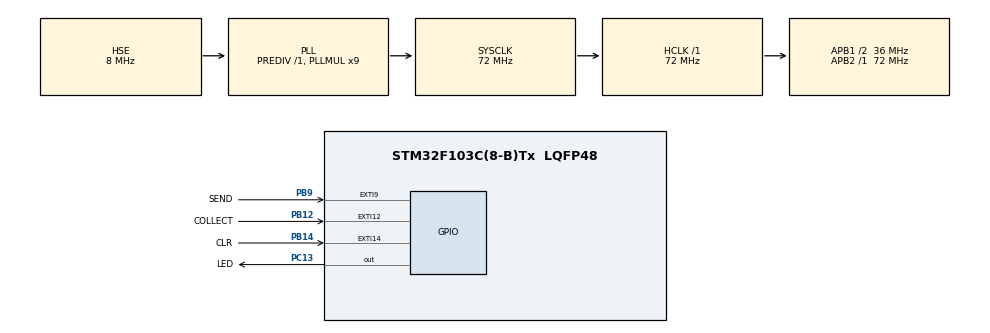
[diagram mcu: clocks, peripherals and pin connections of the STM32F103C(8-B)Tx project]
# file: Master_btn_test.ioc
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Mcu.Family=STM32F1
Mcu.Name=STM32F103C(8-B)Tx
Mcu.Package=LQFP48
NVIC.EXTI15_10_IRQn=true\:0\:0\:false\:false\:true\:true\:true\:true
NVIC.EXTI9_5_IRQn=true\:0\:0\:false\:false\:true\:true\:true\:true
NVIC.PriorityGroup=NVIC_PRIORITYGROUP_4
PA13.Mode=Serial_Wire
PA13.Signal=SYS_JTMS-SWDIO
PA14.Mode=Serial_Wire
PA14.Signal=SYS_JTCK-SWCLK
PB12.GPIO_Label=COLLECT
PB12.GPIO_ModeDefaultEXTI=GPIO_MODE_IT_FALLING
PB12.Signal=GPXTI12
PB14.GPIO_Label=CLR
PB14.GPIO_ModeDefaultEXTI=GPIO_MODE_IT_FALLING
PB14.Signal=GPXTI14
PB9.GPIO_Label=SEND
PB9.GPIO_ModeDefaultEXTI=GPIO_MODE_IT_FALLING
PB9.Signal=GPXTI9
PC13-TAMPER-RTC.GPIO_Label=LED
PC13-TAMPER-RTC.Signal=GPIO_Output
PD0-OSC_IN.Mode=HSE-External-Oscillator
PD0-OSC_IN.Signal=RCC_OSC_IN
PD1-OSC_OUT.Mode=HSE-External-Oscillator
PD1-OSC_OUT.Signal=RCC_OSC_OUT
ProjectManager.HeapSize=0x200
ProjectManager.StackSize=0x400
ProjectManager.TargetToolchain=STM32CubeIDE
RCC.AHBFreq_Value=72000000
RCC.APB1CLKDivider=RCC_HCLK_DIV2
RCC.APB1Freq_Value=36000000
RCC.APB1TimFreq_Value=72000000
RCC.APB2Freq_Value=72000000
RCC.APB2TimFreq_Value=72000000
RCC.HCLKFreq_Value=72000000
RCC.PLLMUL=RCC_PLL_MUL9
RCC.PLLSourceVirtual=RCC_PLLSOURCE_HSE
RCC.SYSCLKFreq_VALUE=72000000
RCC.SYSCLKSource=RCC_SYSCLKSOURCE_PLLCLK
RCC.USBFreq_Value=72000000
board=custom

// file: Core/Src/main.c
/* USER CODE BEGIN Header */
/**
  ******************************************************************************
  * @file           : main.c
  * @brief          : Main program body
  ******************************************************************************
  * @attention
  *
  * Copyright (c) 2026 STMicroelectronics.
  * All rights reserved.
  *
  * This software is licensed under terms that can be found in the LICENSE file
  * in the root directory of this software component.
  * If no LICENSE file comes with this software, it is provided AS-IS.
  *
  ******************************************************************************
  */
/* USER CODE END Header */
#include "main.h"

/* USER CODE BEGIN PV */
volatile uint8_t clr_flag		= 0;
volatile uint8_t collect_flag	= 0;
volatile uint8_t send_flag		= 0;

// for the debouncing delay
uint32_t last_clr_time 		= 0;
uint32_t last_collect_time 	= 0;
uint32_t last_send_time 	= 0;

//debug counter
uint8_t clr_count		= 0;
uint8_t	collect_count	= 0;
uint8_t send_count		= 0;

/* USER CODE END PV */

void SystemClock_Config(void);
static void MX_GPIO_Init(void);

int main(void)
{

  /* MCU Configuration--------------------------------------------------------*/

  /* Reset of all peripherals, Initializes the Flash interface and the Systick. */
  HAL_Init();

  /* Configure the system clock */
  SystemClock_Config();

  /* Initialize all configured peripherals */
  MX_GPIO_Init();

  /* Infinite loop */
  /* USER CODE BEGIN WHILE */
  while (1)
  {
	  if(clr_flag){
		  clr_flag = 0;
		  clr_count++;
	  }
	  if(collect_flag){
		  collect_flag = 0;
		  collect_count++;
	  }
	  if(send_flag){
		  send_flag = 0;
		  send_count++;
	  }
    /* USER CODE END WHILE */

  }
}

void SystemClock_Config(void)
{
  RCC_OscInitTypeDef RCC_OscInitStruct = {0};
  RCC_ClkInitTypeDef RCC_ClkInitStruct = {0};

  /** Initializes the RCC Oscillators according to the specified parameters
  * in the RCC_OscInitTypeDef structure.
  */
  RCC_OscInitStruct.OscillatorType = RCC_OSCILLATORTYPE_HSE;
  RCC_OscInitStruct.HSEState = RCC_HSE_ON;
  RCC_OscInitStruct.HSEPredivValue = RCC_HSE_PREDIV_DIV1;
  RCC_OscInitStruct.HSIState = RCC_HSI_ON;
  RCC_OscInitStruct.PLL.PLLState = RCC_PLL_ON;
  RCC_OscInitStruct.PLL.PLLSource = RCC_PLLSOURCE_HSE;
  RCC_OscInitStruct.PLL.PLLMUL = RCC_PLL_MUL9;
  if (HAL_RCC_OscConfig(&RCC_OscInitStruct) != HAL_OK)
  {
    Error_Handler();
  }

  /** Initializes the CPU, AHB and APB buses clocks
  */
  RCC_ClkInitStruct.ClockType = RCC_CLOCKTYPE_HCLK|RCC_CLOCKTYPE_SYSCLK
                              |RCC_CLOCKTYPE_PCLK1|RCC_CLOCKTYPE_PCLK2;
  RCC_ClkInitStruct.SYSCLKSource = RCC_SYSCLKSOURCE_PLLCLK;
  RCC_ClkInitStruct.AHBCLKDivider = RCC_SYSCLK_DIV1;
  RCC_ClkInitStruct.APB1CLKDivider = RCC_HCLK_DIV2;
  RCC_ClkInitStruct.APB2CLKDivider = RCC_HCLK_DIV1;

  if (HAL_RCC_ClockConfig(&RCC_ClkInitStruct, FLASH_LATENCY_2) != HAL_OK)
  {
    Error_Handler();
  }
}

static void MX_GPIO_Init(void)
{
  GPIO_InitTypeDef GPIO_InitStruct = {0};

  /* GPIO Ports Clock Enable */
  __HAL_RCC_GPIOC_CLK_ENABLE();
  __HAL_RCC_GPIOD_CLK_ENABLE();
  __HAL_RCC_GPIOB_CLK_ENABLE();
  __HAL_RCC_GPIOA_CLK_ENABLE();

  /*Configure GPIO pin Output Level */
  HAL_GPIO_WritePin(LED_GPIO_Port, LED_Pin, GPIO_PIN_RESET);

  /*Configure GPIO pin : LED_Pin */
  GPIO_InitStruct.Pin = LED_Pin;
  GPIO_InitStruct.Mode = GPIO_MODE_OUTPUT_PP;
  GPIO_InitStruct.Pull = GPIO_NOPULL;
  GPIO_InitStruct.Speed = GPIO_SPEED_FREQ_LOW;
  HAL_GPIO_Init(LED_GPIO_Port, &GPIO_InitStruct);

  /*Configure GPIO pins : COLLECT_Pin CLR_Pin SEND_Pin */
  GPIO_InitStruct.Pin = COLLECT_Pin|CLR_Pin|SEND_Pin;
  GPIO_InitStruct.Mode = GPIO_MODE_IT_FALLING;
  GPIO_InitStruct.Pull = GPIO_NOPULL;
  HAL_GPIO_Init(GPIOB, &GPIO_InitStruct);

  /* EXTI interrupt init*/
  HAL_NVIC_SetPriority(EXTI9_5_IRQn, 0, 0);
  HAL_NVIC_EnableIRQ(EXTI9_5_IRQn);

  HAL_NVIC_SetPriority(EXTI15_10_IRQn, 0, 0);
  HAL_NVIC_EnableIRQ(EXTI15_10_IRQn);

}

/* USER CODE BEGIN 4 */
void HAL_GPIO_EXTI_Callback(uint16_t GPIO_PIN){

	uint32_t now = HAL_GetTick();

	if(GPIO_PIN == GPIO_PIN_9){

		if(now - last_send_time > 500){

			last_send_time = now;
			send_flag = 1;
		}
	}
	else if(GPIO_PIN == GPIO_PIN_14){

		if(now - last_clr_time >500){

			last_clr_time = now;
			clr_flag = 1;
		}
	}
	else if(GPIO_PIN == GPIO_PIN_12){

		if(now - last_collect_time > 500){

			last_collect_time = now;
			collect_flag = 1;
		}
	}
}

/* USER CODE END 4 */

void Error_Handler(void)
{
  __disable_irq();
  while (1)
  {
  }
}
